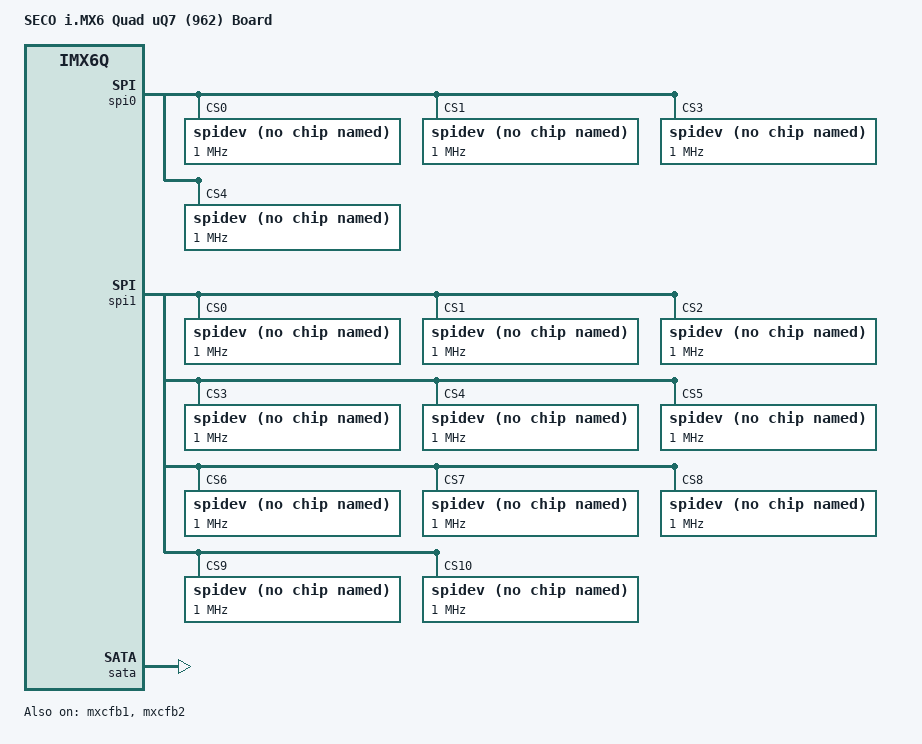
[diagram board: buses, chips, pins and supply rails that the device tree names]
/*
 * Copyright 2012 Freescale Semiconductor, Inc.
 * Copyright 2011 Linaro Ltd.
 *
 * The code contained herein is licensed under the GNU General Public
 * License. You may obtain a copy of the GNU General Public License
 * Version 2 or later at the following locations:
 *
 * http://www.opensource.org/licenses/gpl-license.html
 * http://www.gnu.org/copyleft/gpl.html
 */

/dts-v1/;

#include "imx6q.dtsi"
#include "imx6qdl-seco_uq7_962.dtsi"
#include "imx6qdl-seco_lvds_display.dtsi"

/ {
	model = "SECO i.MX6 Quad uQ7 (962) Board";
	compatible = "fsl,imx6q-uq7_962", "fsl,imx6q";

    spi0: xilinx_pci_spi.0 {
    xlnx,family = "virtex7";
    xlnx,fifo-exist = <0x1>;
    xlnx,num-ss-bits = <0x5>;
    xlnx,num-transfer-bits = <0x8>;
    xlnx,sck-ratio = <0x200>;
    #address-cells = <1>;
    #size-cells = <0>;

    spidev@0x00{
        compatible = "spidev";
        spi-max-frequency = <1000000>;
        reg = <0>;
        device-type = "ADS54J60";
        device-name = "ADC";
        device-index = < 0 >;
        upload-index = < 2 >;
        };

    spidev@0x01{
        compatible = "spidev";
        spi-max-frequency = <1000000>;
        reg = <1>;
        device-type = "DAC39J82";
        device-name = "DAC";
        device-index = < 1 >;
        upload-index = < 1 >;
        device-check = < 1 >;
        };

    spidev@0x03{
        compatible = "spidev";
        spi-max-frequency = <1000000>;
        reg = <3>;
        device-type = "AD5144";
        device-name = "DPOD_SCAN_KV";
        device-index = < 3 >;
        };

    spidev@0x04{
        compatible = "spidev";
        spi-max-frequency = <1000000>;
        reg = <4>;
        device-type = "AD5144";
        device-name = "DPOD_SCAN_UKV";
        device-index = < 4 >;
        };
    };

    spi1: xilinx_pci_spi.1 {
    xlnx,family = "virtex7";
    xlnx,fifo-exist = <0x1>;
    xlnx,num-ss-bits = <11>;
    xlnx,num-transfer-bits = <0x8>;
    xlnx,sck-ratio = <0x200>;
    #address-cells = <1>;
    #size-cells = <0>;

    spidev@0x00{
        compatible = "spidev";
        spi-max-frequency = <1000000>;
        reg = <0>;
        device-type = "LMK04828";
        device-name = "LMK";
        device-index = < 100 >;
        upload-index = < 0 >;
        };

    spidev@0x01{
        compatible = "spidev";
        spi-max-frequency = <1000000>;
        reg = <1>;
        device-type = "AD5144";
        device-name = "DPOD_KV";
        device-index = < 101 >;
        };

    spidev@0x02{
        compatible = "spidev";
        spi-max-frequency = <1000000>;
        reg = <2>;
        device-type = "AD5144";
        device-name = "DPOD_UKV";
        device-index = < 102 >;
        };

    spidev@0x03{
        compatible = "spidev";
        spi-max-frequency = <1000000>;
        reg = <3>;
        device-type = "ADRF6518";
        device-name = "FILT_SCAN_KV";
        device-index = < 103 >;
        };

    spidev@0x04{
        compatible = "spidev";
        spi-max-frequency = <1000000>;
        reg = <4>;
        device-type = "ADRF6520";
        device-name = "FILT_SCAN_UKV";
        device-index = < 104 >;
        };

    spidev@0x05{
        compatible = "spidev";
        spi-max-frequency = <1000000>;
        reg = <5>;
        device-type = "PE4312";
        device-name = "ATT_TX_KV";
        device-index = < 105 >;
        };

    spidev@0x06{
        compatible = "spidev";
        spi-max-frequency = <1000000>;
        reg = <6>;
        device-type = "PE4312";
        device-name = "ATT_TX_UKV";
        device-index = < 106 >;
        };

    spidev@0x07{
        compatible = "spidev";
        spi-max-frequency = <1000000>;
        reg = <7>;
        device-type = "ADRF6518";
        device-name = "FILT_KV";
        device-index = < 107 >;
        };

    spidev@0x08{
        compatible = "spidev";
        spi-max-frequency = <1000000>;
        reg = <8>;
        device-type = "ADRF6520";
        device-name = "FILT_UKV";
        device-index = < 108 >;
        };

    spidev@0x09{
        compatible = "spidev";
        spi-max-frequency = <1000000>;
        reg = <9>;
        device-type = "PE4312";
        device-name = "ATT_KV";
        device-index = < 109 >;
        };

    spidev@0x0a{
        compatible = "spidev";
        spi-max-frequency = <1000000>;
        reg = <10>;
        device-type = "PE4312";
        device-name = "ATT_UKV";
        device-index = < 110 >;
        };

    };


};

//#include "adi-fmcomms2.dtsi"

&ldb {
	lvds-channel@0 {
		crtc = "ipu2-di0";
	};

	lvds-channel@1 {
		crtc = "ipu2-di1";
	};
};

&mxcfb1 {
	status = "okay";
};

&mxcfb2 {
	status = "okay";
};

//&mxcfb3 {
//	status = "okay";
//};
//
//&mxcfb4 {
//	status = "okay";
//};

&sata {
	status = "okay";
};
